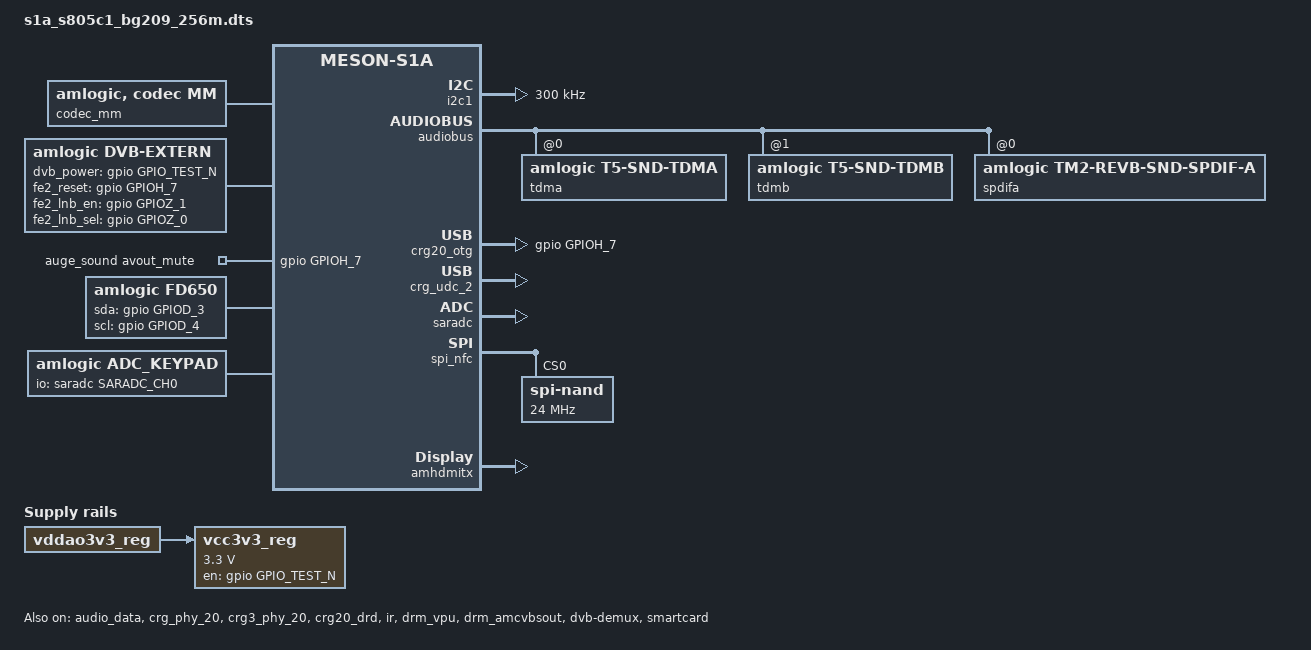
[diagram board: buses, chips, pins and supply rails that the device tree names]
// SPDX-License-Identifier: (GPL-2.0+ OR MIT)
/*
 * Copyright (c) 2019 Amlogic, Inc. All rights reserved.
 */

/dts-v1/;

#include "meson-s1a.dtsi"
#include "mesons1a_drm.dtsi"
#include <dt-bindings/input/input.h>
#include "meson-ir-map-linux.dtsi"

/ {
	amlogic-dt-id = "s1a_bg209_256m";
	compatible = "s1a_bg209_256m";
	interrupt-parent = <&gic>;
	#address-cells = <1>;
	#size-cells = <1>;

	aliases {
		serial0 = &uart_B;
		i2c1 = &i2c1;
		spi0 = &spi_nfc;
		tsensor0 = &p_tsensor;
	};

	memory@00000000 {
		device_type = "memory";
		linux,usable-memory = <0x0 0x10000000>;
	};

	reserved-memory {
		#address-cells = <1>;
		#size-cells = <1>;
		ranges;

		/* global autoconfigured region for contiguous allocations */
		ramoops@0x07400000 {
			compatible = "ramoops";
			reg = <0x07400000 0x00100000>;
			record-size = <0x20000>;
			console-size = <0x40000>;
			ftrace-size = <0x80000>;
			pmsg-size = <0x10000>;
			bconsole-size = <0x10000>;
		};

		dmc_reserved:linux,dmc_monitor {
			compatible = "amlogic,dmc_monitor-reserved";
			reg = <0x0 0x0>;
			status = "disabled";
		};

		debug_reserved:linux,iotrace {
			compatible = "amlogic, iotrace";
			reg = <0x04f00000 0x00100000>;
			io-size = <0x1b000>;
			sched-size = <0x2000>;
			irq-size = <0x1000>;
			smc-size = <0x1000>;
			misc-size = <0x1000>;
		};

		secmon_reserved:linux,secmon {
			compatible = "shared-dma-pool";
			/*reusable;*/
			no-map;
			size = <0x200000>;
			alignment = <0x100000>;
			alloc-ranges = <0x05000000 0x200000>;
		};

		logo_reserved:linux,meson-fb {
			compatible = "amlogic, meson-fb";
			size = <0x400000>;
			alignment = <0x400000>;
			reg = <0x0fc00000 0x400000>;
		};

		ion_cma_reserved:linux,ion-dev {
			compatible = "shared-dma-pool";
			status = "disabled";
			reusable;
			size = <0x0>;
			alignment = <0x400000>;
		};
		ion_fb_reserved:linux,ion-fb {
			compatible = "shared-dma-pool";
			status = "disabled";
			reusable;
			size = <0x0>;
			alignment = <0x400000>;
		};
		dmaheap_cma_reserved:heap-gfx {
			compatible = "shared-dma-pool";
			reusable;
			size = <0x1000000>;
			alignment = <0x400000>;
		};

		/*di CMA pool */
		di_cma_reserved:linux,di_cma {
			compatible = "shared-dma-pool";
			reusable;
			/* buffer_size = 3621952(yuv422 8bit)
			 *  | 4736064(yuv422 10bit)
			 *  | 4074560(yuv422 10bit full pack mode)
			 * 10x3621952=34.6M(0x23) support 8bit
			 * 10x4736064=45.2M(0x2e) support 12bit
			 * 10x4074560=40M(0x28) support 10bit
			 */
			//size = <0x3000000>;
			alignment = <0x400000>;
		};

		codec_mm_cma:linux,codec_mm_cma {
			compatible = "shared-dma-pool";
			reusable;
			/* ion_codec_mm max can alloc size 80M*/
			size = <0x6000000>;
			alignment = <0x400000>;
			linux,contiguous-region;
		};

		/* global autoconfigured region for contiguous allocations */
		linux,cma {
			compatible = "shared-dma-pool";
			reusable;
			size = <0x800000>;
			alignment = <0x400000>;
			linux,cma-default;
			alloc-ranges = <0x0 0x30000000>;
		};
	};
	codec_mm {
		compatible = "amlogic, codec, mm";
		memory-region = <&codec_mm_cma>;
		dev_name = "codec_mm";
		status = "okay";
	};

	dvb-extern {
		compatible = "amlogic, dvb-extern";
		dev_name = "dvb-extern";
		status = "okay";

		/* dvb hardware main power. */
		dvb_power_gpio = <&gpio GPIO_TEST_N GPIO_ACTIVE_HIGH>;
		dvb_power_value = <0>;
		dvb_power_dir = <0>; /* 0: out, 1: in. */

		/* internal 1 * dvb-c/s, internal 1 * dvb-c, extern 1 * dvb-s */
		fe_num = <3>;
		fe0_demod = "internal";
		fe0_tuner0 = <0>; /* use tuner0 C */
		fe0_tuner1 = <2>; /* use tuner2 S */

		fe1_demod = "internal";
		fe1_tuner0 = <1>; /* use tuner1 C */
		fe2_demod = "cxd2856";
		fe2_i2c_adap_id = <&i2c1>;
		fe2_demod_i2c_addr = <0xD8>;
		fe2_reset_value = <0>;
		fe2_reset_gpio = <&gpio GPIOH_7 GPIO_ACTIVE_HIGH>;
		fe2_reset_dir = <0>; /* 0: out, 1: in. */
		/* fe2_ant_poweron_value = <0>; */
		/* fe2_ant_power_gpio = <&gpio GPIOH_9 GPIO_ACTIVE_HIGH>; */
		fe2_lnb_en_gpio = <&gpio GPIOZ_1 GPIO_ACTIVE_HIGH>;
		fe2_lnb_en_value = <1>;
		fe2_lnb_sel_gpio = <&gpio GPIOZ_0 GPIO_ACTIVE_HIGH>;
		fe2_lnb_sel_value = <1>;
		fe2_ts  = <0>;
		fe2_tuner0 = <1>; /* use tuner0, only TC. */
		fe2_tuner1 = <3>; /* use tuner3, only S. */

		tuner_num = <4>; /* tuner number, multi tuner support */
		tuner0_name = "r836_tuner";
		tuner0_i2c_adap = <&i2c1>;
		tuner0_i2c_addr = <0x1a>; /* 7bit */
		tuner0_xtal = <0>; /* 0: 16MHz, 1: 24MHz */
		tuner0_xtal_mode = <0>;
					/* NO_SHARE_XTAL(0)
					 * SLAVE_XTAL_SHARE(3)
					 */
		tuner0_xtal_cap = <16>;
		tuner0_lt_out = <1>;

		tuner1_name = "r836_tuner";
		tuner1_i2c_adap = <&i2c1>;
		tuner1_i2c_addr = <0x3a>; /* 7bit */
		tuner1_xtal = <0>; /* 0: 16MHz, 1: 24MHz */
		tuner1_xtal_mode = <0>;
					/* NO_SHARE_XTAL(0)
					 * SLAVE_XTAL_SHARE(3)
					 */
		tuner1_xtal_cap = <16>;
		tuner1_lt_out = <1>;

		tuner2_name = "av2018_tuner";
		tuner2_i2c_adap = <&i2c1>;
		tuner2_i2c_addr = <0xC4>; /* 8bit */
		tuner2_lt_out = <1>;

		tuner3_name = "av2018_tuner";
		tuner3_lt_out = <1>;
	};

	dvb-demux {
		compatible = "amlogic sc2, dvb-demux";
		dev_name = "dvb-demux";
		status = "okay";

		reg = <0xfe000000 0x480000>;

		dmxdev_num = <0x5>;

		tsn_from = "demod";

		/*single demod setting */
		ts0_sid = <0x10>;
		ts0 = "serial-4wire"; /* tsinA: serial-4wire, serial-3wire */
		ts0_control = <0x0>;
		ts0_invert = <0>;

		ts1_sid = <0x11>;
		ts1 = "parallel";
		ts1_control = <0x0>;
		ts1_invert = <0>;

		pinctrl-names = "s_ts0";
		pinctrl-0 = <&dvb_s_ts0_pins>;
	};

	/* SMC */
	smartcard {
		compatible = "amlogic,smartcard-sc2";
		dev_name = "smartcard";
		status = "okay";

		reg = <0xfe000000 0x480000>;
		irq_trigger_type = "GPIO_IRQ_LOW";

		reset_pin-gpios = <&gpio GPIOD_9 GPIO_ACTIVE_HIGH>;
		detect_pin-gpios = <&gpio GPIOD_10 GPIO_ACTIVE_HIGH>;
		enable_5v3v_pin-gpios = <&gpio GPIOZ_8 GPIO_ACTIVE_HIGH>;
		enable_pin-gpios = <&gpio GPIOD_5 GPIO_ACTIVE_HIGH>;

		interrupts = <0 174 1>;
		interrupt-names = "smc0_irq";
		/*
		 *Smc clock source, if change this,
		 *you must adjust clk and divider in smartcard.c
		 */
		smc0_clock_source = <0>;
		/*0: high voltage on detect pin indicates card in.*/
		smc0_det_invert = <0>;
		smc0_5v3v_level = <0>;
		/*Ordinarily,smartcard controller needs a enable pin.*/
		smc_need_enable_pin = "yes";
		reset_level = <0>;
		smc0_enable_level = <0>;

		pinctrl-names = "default";
		pinctrl-0 = <&sd_iso7816_pins>;

		clocks = <&clkc CLKID_SC>;
		clock-names = "smartcard";
	};

	amlvecm {
		compatible = "amlogic, vecm-s1a";
		dev_name = "aml_vecm";
		status = "okay";
		gamma_en = <0>;/*1:enable ;0:disable*/
		wb_en = <0>;/*1:enable ;0:disable*/
		cm_en = <0>;/*1:enable ;0:disable*/
		/*0: 709/601  1: bt2020*/
		tx_op_color_primary = <0>;
	};

	multi-di {
		compatible = "amlogic, dim-s4";
		status = "okay";
		/* 0:use reserved; 1:use cma; 2:use cma as reserved */
		flag_cma = <4>;	//<1>;
		//memory-region = <&di_reserved>;
		//memory-region = <&di_cma_reserved>;
		interrupts = <0 203 1
				0 202 1>;
		interrupt-names = "pre_irq", "post_irq";
		clocks = <&clkc CLKID_VPU_CLKB>,
			<&clkc CLKID_VPU>;
		clock-names = "vpu_clkb",
			"vpu_mux";
		clock-range = <334 667>;
		/* buffer-size = <3621952>;(yuv422 8bit) */
		buffer-size = <4074560>;/*yuv422 fullpack*/
		/* reserve-iomap = "true"; */
		/* if enable nr10bit, set nr10bit-support to 1 */
		post-wr-support = <1>;
		nr10bit-support = <1>;
		nrds-enable = <1>;
		pps-enable = <1>;
		post_nub = <5>;
		sub_v = <1>;
	};

	unifykey{
		compatible = "amlogic,unifykey";
		status = "okay";
		unifykey-num = <19>;
		unifykey-index-0 = <&keysn_0>;
		unifykey-index-1 = <&keysn_1>;
		unifykey-index-2 = <&keysn_2>;
		unifykey-index-3 = <&keysn_3>;
		unifykey-index-4 = <&keysn_4>;
		unifykey-index-5 = <&keysn_5>;
		unifykey-index-6 = <&keysn_6>;
		unifykey-index-7 = <&keysn_7>;
		unifykey-index-8 = <&keysn_8>;
		unifykey-index-9 = <&keysn_9>;
		unifykey-index-10= <&keysn_10>;
		unifykey-index-11= <&keysn_11>;
		unifykey-index-12= <&keysn_12>;
		unifykey-index-13= <&keysn_13>;
		unifykey-index-14= <&keysn_14>;
		unifykey-index-15= <&keysn_15>;
		unifykey-index-16= <&keysn_16>;
		unifykey-index-17= <&keysn_17>;
		unifykey-index-18= <&keysn_18>;

		keysn_0: key_0{
			key-name = "usid";
			key-device = "normal";
			key-permit = "read","write","del";
		};
		keysn_1:key_1{
			key-name = "mac";
			key-device = "normal";
			key-permit = "read","write","del";
		};
		keysn_2:key_2{
			key-name = "hdcp";
			key-device = "secure";
			key-type = "sha1";
			key-permit = "read","write","del";
		};
		keysn_3:key_3{
			key-name = "secure_boot_set";
			key-device = "efuse";
			key-permit = "write";
		};
		keysn_4:key_4{
			key-name = "mac_bt";
			key-device = "normal";
			key-permit = "read","write","del";
			key-type  = "mac";
		};
		keysn_5:key_5{
			key-name = "mac_wifi";
			key-device = "normal";
			key-permit = "read","write","del";
			key-type = "mac";
		};
		keysn_6:key_6{
			key-name = "hdcp2_tx";
			key-device = "normal";
			key-permit = "read","write","del";
		};
		keysn_7:key_7{
			key-name = "hdcp2_rx";
			key-device = "normal";
			key-permit = "read","write","del";
		};
		keysn_8:key_8{
			key-name = "widevinekeybox";
			key-device = "secure";
			key-permit = "read","write","del";
		};
		keysn_9:key_9{
			key-name = "deviceid";
			key-device = "normal";
			key-permit = "read","write","del";
		};
		keysn_10:key_10{
			key-name = "hdcp22_fw_private";
			key-device = "secure";
			key-permit = "read","write","del";
		};
		keysn_11:key_11{
			key-name = "PlayReadykeybox25";
			key-device = "secure";
			key-permit = "read","write","del";
		};
		keysn_12:key_12{
			key-name = "prpubkeybox";// PlayReady
			key-device = "secure";
			key-permit = "read","write","del";
		};
		keysn_13:key_13{
			key-name = "prprivkeybox";// PlayReady
			key-device = "secure";
			key-permit = "read","write","del";
		};
		keysn_14:key_14{
			key-name = "attestationkeybox";// attestation key
			key-device = "secure";
			key-permit = "read","write","del";
		};
		keysn_15:key_15{
			key-name = "region_code";
			key-device = "normal";
			key-permit = "read","write","del";
		};
		keysn_16:key_16{
			key-name = "netflix_mgkid";
			key-device = "secure";
			key-permit = "read","write","del";
		};
		keysn_17:key_17{
			key-name = "attestationdevidbox";// attest dev id box
			key-device = "secure";
			key-permit = "read","write","del";
		};
		keysn_18:key_18{
			key-name = "oemkey";
			key-device = "normal";
			key-permit = "read","write","del";
		};
	};//End unifykey

	efusekey:efusekey{
		keynum = <4>;
		key0 = <&key_0>;
		key1 = <&key_1>;
		key2 = <&key_2>;
		key3 = <&key_3>;
		key_0:key_0{
			keyname = "mac";
			offset = <0>;
			size = <6>;
		};
		key_1:key_1{
			keyname = "mac_bt";
			offset = <6>;
			size = <6>;
		};
		key_2:key_2{
			keyname = "mac_wifi";
			offset = <12>;
			size = <6>;
		};
		key_3:key_3{
			keyname = "usid";
			offset = <18>;
			size = <16>;
		};
	};//End efusekey

	vcc3v3_reg: fixed@vcc3v3_reg{
		compatible = "regulator-fixed";
		vin-supply = <&vddao3v3_reg>;
		regulator-name = "VCC3V3";
		regulator-min-microvolt = <3300000>;
		regulator-max-microvolt = <3300000>;
		gpio = <&gpio GPIO_TEST_N GPIO_ACTIVE_HIGH>;
		startup-delay-us = <70000>;
		enable-active-high;
		regulator-boot-on;
		regulator-always-on;
	};

	/* Audio Related start */
	auge_sound {
		compatible = "amlogic, auge-sound-card";
		aml-audio-card,name = "AML-AUGESOUND";

		/*avout mute gpio*/
		avout_mute-gpios = <&gpio GPIOH_7 GPIO_ACTIVE_HIGH>;
		//spk_mute-gpios = <&gpio GPIOH_8 GPIO_ACTIVE_LOW>;

		aml-audio-card,dai-link@0 {
			format = "i2s";
			mclk-fs = <256>;
			//continuous-clock;
			//bitclock-inversion;
			//frame-inversion;
			/* master mode */
			bitclock-master = <&tdma>;
			frame-master = <&tdma>;
			/* slave mode */
			/*
			 * bitclock-master = <&tdmacodec>;
			 * frame-master = <&tdmacodec>;
			 */
			suffix-name = "alsaPORT-i2s";
			tdmacpu: cpu {
				sound-dai = <&tdma>;
				dai-tdm-slot-tx-mask =
							<1 1>;
				dai-tdm-slot-rx-mask =
							<1 1>;
				dai-tdm-slot-num = <2>;
				dai-tdm-slot-width = <32>;
				system-clock-frequency = <12288000>;
			};
			tdmacodec: codec {
				sound-dai = <&amlogic_codec>;
			};
		};

		aml-audio-card,dai-link@1 {
			format = "i2s";// "dsp_a";
			mclk-fs = <256>;
			continuous-clock;
			//bitclock-inversion;
			//frame-inversion;
			/* master mode */
			bitclock-master = <&tdmb>;
			frame-master = <&tdmb>;
			/* slave mode */
			//bitclock-master = <&tdmbcodec>;
			//frame-master = <&tdmbcodec>;
			/* suffix-name, sync with android audio hal
			 * what's the dai link used for
			 */
			suffix-name = "alsaPORT-pcm";
			cpu {
				sound-dai = <&tdmb>;
				dai-tdm-slot-tx-mask = <1 1>;
				dai-tdm-slot-rx-mask = <1 1>;
				dai-tdm-slot-num = <2>;
				/*
				 * dai-tdm-slot-tx-mask =
				 *	<1 1 1 1 1 1 1 1>;
				 * dai-tdm-slot-rx-mask =
				 *	<1 1 1 1 1 1 1 1>;
				 * dai-tdm-slot-num = <8>;
				 */
				dai-tdm-slot-width = <32>;
				system-clock-frequency = <12288000>;
			};
			tdmbcodec: codec {
				sound-dai = <&dummy_codec>;
			};
		};

		aml-audio-card,dai-link@2 {
			mclk-fs = <128>;
			/* suffix-name, sync with android audio hal used for */
			suffix-name = "alsaPORT-spdif";
			cpu {
				sound-dai = <&spdifa>;
				system-clock-frequency = <6144000>;
			};
			codec {
				sound-dai = <&dummy_codec>;
			};
		};
	};

	fd650: fd650 {
		compatible = "amlogic,fd650";
		status = "okay";
		mboxes = <&mbox_fifo S1A_REE2AO_FD650>;
		//use-bl30-ctrl = <1>;
		sda-gpios = <&gpio GPIOD_3 GPIO_ACTIVE_HIGH>;
		scl-gpios =  <&gpio GPIOD_4 GPIO_ACTIVE_HIGH>;
		fd650-gpio,delay-us = <1>;
	};

	/* for external keypad */
	adc_keypad {
		compatible = "amlogic, adc_keypad";
		status = "okay";
		key_name = "menu", "home", "esc";
		key_num = <3>;
		io-channels = <&saradc SARADC_CH0>;
		io-channel-names = "key-chan-0";
		key_chan = <SARADC_CH0 SARADC_CH0 SARADC_CH0>;
		key_code = <KEY_MENU KEY_HOME KEY_ESC>;
		/* key_val = voltage / 1800mV * 1023 */
		key_val = <0 512 920>;
		key_tolerance = <40 40 40>;
	};
};

&i2c1 {
	status = "okay";
	pinctrl-names="default";
	pinctrl-0=<&i2c1_pins1>;
	clock-frequency = <300000>;
};

&CPU0 {
	operating-points-v2 = <&double_cpu_opp_table0>,
		<&double_cpu_opp_table1>,
		<&double_cpu_opp_table2>,
		<&double_cpu_opp_table3>;
};

&CPU1 {
	operating-points-v2 = <&double_cpu_opp_table0>,
		<&double_cpu_opp_table1>,
		<&double_cpu_opp_table2>,
		<&double_cpu_opp_table3>;
};

&vddcpu0 {
	status = "okay";
};

&audiobus {
	tdma: tdm@0 {
		compatible = "amlogic, t5-snd-tdma";
		#sound-dai-cells = <0>;
		dai-tdm-lane-slot-mask-in = <1 1>;
		dai-tdm-lane-slot-mask-out = <1 1>;
		dai-tdm-clk-sel = <0>;

		clocks = <&clkaudio CLKID_AUDIO_MCLK_A
				&clkc CLKID_HIFI_PLL
				&clkc CLKID_HIFI1_PLL>;
		clock-names = "mclk", "clk_srcpll", "clk_src_cd";

		samesource_sel = <3>;
		i2s2hdmi = <1>;

		/*enable default mclk(12.288M), before extern codec start*/
		start_clk_enable = <1>;

		/*tdm clk tuning enable*/
		clk_tuning_enable = <1>;
		ctrl_gain = <1>;
		suspend-clk-off = <1>;
		status = "okay";
		/* !!!For --TV platform-- ONLY */
		Channel_Mask {
			/*i2s has 4 pins, 8channel, mux output*/
			Spdif_samesource_Channel_Mask = "i2s_0/1";
		};
	};

	tdmb: tdm@1 {
		compatible = "amlogic, t5-snd-tdmb";
		#sound-dai-cells = <0>;
		dai-tdm-lane-slot-mask-out = <1 1 1 1>;
		dai-tdm-clk-sel = <1>;
		clocks = <&clkaudio CLKID_AUDIO_MCLK_B
				&clkaudio CLKID_AUDIO_MCLK_PAD0
				&clkc CLKID_HIFI_PLL
				&clkc CLKID_HIFI1_PLL>;
		clock-names = "mclk", "mclk_pad", "clk_srcpll", "clk_src_cd";
		/*
		 * 0: tdmout_a;
		 * 1: tdmout_b;
		 * 2: tdmout_c;
		 * 3: spdifout;
		 * 4: spdifout_b;
		 */
		suspend-clk-off = <1>;
		status = "okay";
	};

	spdifa: spdif@0 {
		compatible = "amlogic, tm2-revb-snd-spdif-a";
		#sound-dai-cells = <0>;
		clocks = <&clkc CLKID_HIFI_PLL
				&clkc CLKID_HIFI1_PLL
				&clkaudio CLKID_AUDIO_GATE_SPDIFOUT_A
				&clkaudio CLKID_AUDIO_SPDIFOUT_A>;
		clock-names = "sysclk", "clk_src_cd", "gate_spdifout","clk_spdifout";
		interrupts =
				<GIC_SPI 35 IRQ_TYPE_EDGE_RISING>;

		interrupt-names = "irq_spdifin";
		pinctrl-names = "spdif_pins", "spdif_pins_mute";
		pinctrl-0 = <&spdifout>;
		pinctrl-1 = <&spdifout_a_mute>;
		/*spdif clk tuning enable*/
		clk_tuning_enable = <1>;
		suspend-clk-off = <1>;
		status = "okay";
	};
}; /* end of audiobus */

&pinctrl_audio {
	tdm_d0_pins: tdm_d0_pin {
		mux {
			groups = "tdm_d0";
			function = "tdmouta_lane0";
		};
	};

	tdm_d1_pins: tdm_d1_pin {
		mux {
			groups = "tdm_d1";
			function = "tdmina_lane0";
		};
	};

	tdma_clk_pins: tdm_clk_pin {
		mux {
			groups = "tdm_sclk0", "tdm_lrclk0";
			function = "tdm_clk_outa";
		};
	};
};

&periphs_pinctrl {
	tdm_a: tdm_a {
		mux { /* GPIOX_11, GPIOX_10, GPIOX_9, GPIOX_8 */
			groups = "tdm_sclk0",
				"tdm_fs0",
				"tdm_d0",
				"tdm_d1";
			function = "tdm";
		};
	};

	pdmin: pdmin {
		mux { /* GPIOD_8, GPIOD_9 */
			groups = "pdm_din0_d";
			function = "pdm";
		};
		mux1 {
			groups = "pdm_dclk_d";
			function = "pdm";
			drive-strength-microamp = <500>;
		};
	};

	spdifout: spdifout {
		mux { /* GPIOH_4 */
			groups = "spdif_out_h4";
			function = "spdif_out";
		};
	};

	spdifout_a_mute: spdifout_a_mute {
		mux { /* GPIOH_4 */
			groups = "GPIOH_4";
			function = "gpio_periphs";
			output-low;
		};
	};

	dvb_s_ts0_pins: dvb_s_ts0_pins {
		tsin_a {
			groups = "tsin_a_sop_z1",
				"tsin_a_valid_z6",
				"tsin_a_clk_z0",
				"tsin_a_d0_z7";
			function = "tsin_a";
		};
	};
}; /* end of periphs_pinctrl */

&audio_data {
	status = "okay";
};

&crg_phy_20 {
	status = "okay";
	portnum = <1>;
};

&crg3_phy_20 {
	status = "okay";
	portnum = <0>;
};

&crg20_otg {
	status = "okay";
	controller-type = <1>; /* 0~3: normal, host, device, otg */
	gpio-vbus-power = "GPIOH_7";
	gpios = <&gpio GPIOH_7 GPIO_ACTIVE_HIGH>;
};

&crg20_drd {
	status = "okay";
};

&crg_udc_2 {
	status = "okay";
};

&saradc {
	status = "okay";
};

&ir {
	status = "okay";
	pinctrl-0 = <&remote_pins>;
	pinctrl-names = "default";
	/*For linux platforms, use custom_maps_linux to override the default custom_maps in the IR*/
	map = <&custom_maps_linux>;
};

&spi_nfc {
	status = "okay";
	pinctrl-names = "default";
	pinctrl-0 = <&spinf_pins>;
	spi-nand@0 {
		compatible = "spi-nand";
		status = "okay";
		reg = <0>;
		spi-max-frequency = <24000000>;
		spi-tx-bus-width = <4>;
		spi-rx-bus-width = <4>;
		rsv_env_config;
	};
};

&drm_vpu {
	status = "okay";
	logo_addr = "0x0fc00000";
};

&amhdmitx {
	res_1080p = <1>;
	status = "okay";
    /* hdcp ctrl 0: sysctrl, 1: drv, 2: linux app */
	hdcp_ctl_lvl = <1>;
};

&drm_amcvbsout {
	status = "okay";
};

&vpu {
	clk_level = <6>;
};

&cma_shrinker {
	free = <7680 24288 28528 32600 32768 36624>;
};

